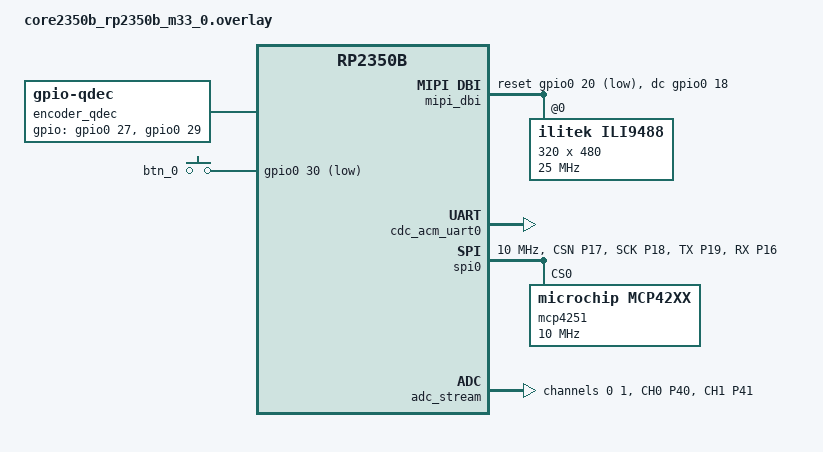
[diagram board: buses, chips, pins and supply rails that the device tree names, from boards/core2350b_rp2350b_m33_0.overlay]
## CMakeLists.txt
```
cmake_minimum_required(VERSION 3.20.0)

find_package(Zephyr REQUIRED)
project(tp_analyzer)

target_sources(app PRIVATE
  src/main.c
)

add_subdirectory(src)
target_link_libraries(app PRIVATE app_lib)

# So main.c can `#include "adc_stream.h"` for the app-local driver's public
# API (adc_stream_start()/adc_stream_stop()) without reaching into
# drivers/adc_stream/ with a relative path.
target_include_directories(app PRIVATE drivers/adc_stream)
add_subdirectory_ifdef(CONFIG_ADC_STREAM_RPI_PICO drivers/adc_stream)
target_include_directories_ifdef(CONFIG_ADC_STREAM_RPI_PICO app_lib PRIVATE drivers/adc_stream)
target_link_libraries_ifdef(CONFIG_ADC_STREAM_RPI_PICO app_lib PRIVATE adc_stream)
# Link POWMAN RTC driver to application
add_subdirectory_ifdef(CONFIG_POWMAN_RTC_RPI_PICO drivers/powman_rtc)
target_include_directories_ifdef(CONFIG_POWMAN_RTC_RPI_PICO app_lib PRIVATE drivers/powman_rtc)
target_link_libraries_ifdef(CONFIG_POWMAN_RTC_RPI_PICO app_lib PRIVATE powman_rtc)
# Link MCP4XXX digital potentiometer driver to application. Also exposed to
# the `app` target (not just app_lib) so main.c can `#include "mcp4xxx.h"`
# directly, the same way drivers/adc_stream is above.
add_subdirectory_ifdef(CONFIG_MCP4XXX drivers/mcp4xxx)
target_include_directories_ifdef(CONFIG_MCP4XXX app PRIVATE drivers/mcp4xxx)
target_include_directories_ifdef(CONFIG_MCP4XXX app_lib PRIVATE drivers/mcp4xxx)
target_link_libraries_ifdef(CONFIG_MCP4XXX app_lib PRIVATE mcp4xxx)

# CMSIS-DSP FFT wrapper (RTOS-agnostic, ported unchanged from the FreeRTOS
# tree — see ZEPHYR_MIGRATION.md's Guiding principle)
add_subdirectory_ifdef(CONFIG_CMSIS_DSP services/dsp)
target_include_directories_ifdef(CONFIG_CMSIS_DSP app_lib PRIVATE services/dsp)
target_link_libraries_ifdef(CONFIG_CMSIS_DSP app_lib PRIVATE dsp)
```

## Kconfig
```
# Copyright (c) 2026 Fabrizio Carlassara
# SPDX-License-Identifier: Apache-2.0

# Pulled forward from Phase 5 (see ZEPHYR_MIGRATION.md) just far enough to
# host the Phase 1b driver's Kconfig fragment below. The full app-level
# menu ported from main:firmware/Kconfig still happens in Phase 5 — this
# file grows then, it isn't reworked from scratch.

menu "Application"
  menu "Threads Customization"
    rsource "src/threads/Kconfig"
  endmenu
  menu "UI Screens"
    rsource "src/lvgl/Kconfig"
  endmenu
  menu "DSP"
    config ADC_SAMPLES
      int "Number of ADC samples taken"
      default ADC_STREAM_PER_CHANNEL_BUFFER_SIZE
      depends on ADC_STREAM_RPI_PICO
      help
        This sets the number of samples taken on each ADC channel

    config ADC_SAMPLING_FREQUENCY_HZ
      int "Sampling frequency per channel in Hz"
      default ADC_STREAM_PER_CHANNEL_SAMPLE_RATE_HZ
      depends on ADC_STREAM_RPI_PICO
      help
        This sets the sampling frequency per ADC channel

    config FFT_BINS
      int "Number of FFT bins"
      default 512
      help
        Has to be half of ADC_SAMPLES
  endmenu
endmenu

menu "ADC Driver"
  rsource "drivers/adc_stream/Kconfig"
endmenu

menu "RTC Driver"
  rsource "drivers/powman_rtc/Kconfig"
endmenu

menu "MCP4XXX Driver"
  rsource "drivers/mcp4xxx/Kconfig"
endmenu

source "Kconfig.zephyr"
```

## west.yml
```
manifest:
  version: 1.0

  projects:
    - name: zephyr
      url: https://github.com/zephyrproject-rtos/zephyr
      revision: main
      import:
        name-allowlist:
          - cmsis_6
          - cmsis-dsp
          - hal_rpi_pico
          - lvgl
```

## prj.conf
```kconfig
CONFIG_LOG=y
CONFIG_STDOUT_CONSOLE=y
CONFIG_CONSOLE=y
CONFIG_UART_CONSOLE=y
CONFIG_UART_LINE_CTRL=y

# New USB device stack. Legacy usb_enable()/CONFIG_USB_DEVICE_STACK is
# deprecated and slated for removal in Zephyr v4.5.0 (we're pinned to
# v4.4.2, see app/west.yml) — moving now avoids touching this twice.
CONFIG_USB_DEVICE_STACK_NEXT=y
CONFIG_USBD_CDC_ACM_LOG_LEVEL_OFF=y

# In-tree helper (subsys/usb/device_next/app/cdc_acm_serial.c) that wires
# up descriptors + a single CDC ACM instance + usbd_init()/usbd_enable()
# automatically, driven by the cdc_acm_uart0 devicetree node in
# boards/rpi_pico2_rp2350a_m33.overlay. No USBD boilerplate needed in main.c.
CONFIG_CDC_ACM_SERIAL_INITIALIZE_AT_BOOT=y
CONFIG_CDC_ACM_SERIAL_ENABLE_AT_BOOT=y
CONFIG_CDC_ACM_SERIAL_PRODUCT_STRING="TP Analyzer"

# LVGL and display
CONFIG_DISPLAY=y
CONFIG_MIPI_DBI=y
CONFIG_ILI9488=y
CONFIG_LVGL=y
CONFIG_LV_Z_AUTO_INIT=y
CONFIG_LV_Z_MEM_POOL_SIZE=80000
CONFIG_LV_COLOR_DEPTH_16=y
CONFIG_LV_COLOR_16_SWAP=y

# POWMAN RTC
CONFIG_RTC=y
CONFIG_POWMAN_RTC_RPI_PICO=y
CONFIG_STACK_SENTINEL=y

# Encoder input
CONFIG_INPUT=y
CONFIG_LV_Z_ENCODER_INPUT=y

# CMSIS-DSP (FFT for scr_oscilloscope/scr_fft, see app/services/dsp/).
# TRANSFORM (RFFT) and STATISTICS (max/absmax) already imply BASICMATH +
# FASTMATH (arm_mult_f32, arm_sqrt_f32) — WINDOW (arm_hanning_f32) stands
# alone, no implies for it.
CONFIG_CMSIS_DSP=y

# Digital potentiometer
CONFIG_MCP4XXX=y
```

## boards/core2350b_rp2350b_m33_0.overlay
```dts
#include <zephyr/dt-bindings/mipi_dbi/mipi_dbi.h>
#include <zephyr/dt-bindings/display/panel.h>
#include <zephyr/dt-bindings/dma/rpi-pico-dma-rp2350.h>
#include <zephyr/dt-bindings/pinctrl/rpi-pico-rp2350b-pinctrl.h>
#include <zephyr/dt-bindings/input/input-event-codes.h>

/ {
	chosen {
		zephyr,console = &cdc_acm_uart0;
		zephyr,shell-uart = &cdc_acm_uart0;
		zephyr,display = &ili9488;
	};

	mipi_dbi: mipi_dbi {
		compatible = "zephyr,mipi-dbi-bitbang";
		dc-gpios = <&gpio0 18 GPIO_ACTIVE_HIGH>;
		reset-gpios = <&gpio0 20 GPIO_ACTIVE_LOW>;
		rd-gpios = <&gpio0 16 GPIO_ACTIVE_HIGH>;
		wr-gpios = <&gpio0 17 GPIO_ACTIVE_HIGH>;
		cs-gpios = <&gpio0 19 GPIO_ACTIVE_LOW>;
		data-gpios = <&gpio0 0 GPIO_ACTIVE_HIGH>,
			     <&gpio0 1 GPIO_ACTIVE_HIGH>,
			     <&gpio0 2 GPIO_ACTIVE_HIGH>,
			     <&gpio0 3 GPIO_ACTIVE_HIGH>,
			     <&gpio0 4 GPIO_ACTIVE_HIGH>,
			     <&gpio0 5 GPIO_ACTIVE_HIGH>,
			     <&gpio0 6 GPIO_ACTIVE_HIGH>,
			     <&gpio0 7 GPIO_ACTIVE_HIGH>;
		#address-cells = <1>;
		#size-cells = <0>;

		ili9488: ili9488@0 {
			compatible = "ilitek,ili9488";
			mipi-max-frequency = <25000000>;
			reg = <0>;
			pixel-format = <PANEL_PIXEL_FORMAT_RGB_565>;
			rotation = <90>;
			width = <320>;
			height = <480>;
			mipi-mode = "MIPI_DBI_MODE_8080_BUS_8_BIT";
			h-mirror;
		};
	};

	encoder_qdec: encoder-qdec {
		compatible = "gpio-qdec";
		gpios = <&gpio0 27 (GPIO_PULL_UP | GPIO_ACTIVE_HIGH)>,
			<&gpio0 29 (GPIO_PULL_UP | GPIO_ACTIVE_HIGH)>;
		steps-per-period = <2>;
		zephyr,axis = <INPUT_REL_WHEEL>;
		sample-time-us = <1000>;
		idle-timeout-ms = <200>;
	};

	encoder_btn: encoder-btn {
		compatible = "gpio-keys";
		btn_0 {
			gpios = <&gpio0 30 (GPIO_PULL_UP | GPIO_ACTIVE_LOW)>;
			zephyr,code = <INPUT_KEY_ENTER>;
		};
	};

	lvgl_encoder: lvgl-encoder-input {
		compatible = "zephyr,lvgl-encoder-input";
		rotation-input-code = <INPUT_REL_WHEEL>;
		button-input-code = <INPUT_KEY_ENTER>;
	};
};

&zephyr_udc0 {
	cdc_acm_uart0: cdc_acm_uart0 {
		compatible = "zephyr,cdc-acm-uart";
		label = "CDC_ACM_0";
	};
};

&pinctrl {
	/* TODO: unverified — RP2_PINCTRL_GPIO_FUNC_NULL disconnects the
	 * digital function per the pinctrl header's own comment, matching
	 * the Pico SDK's adc_gpio_init(), but whether pulls/input-buffer
	 * also need explicitly disabling here (input-enable omitted =
	 * disabled, need to confirm that's actually sufficient on RP2350)
	 * hasn't been checked against real hardware yet.
	 */
	adc_ch0_default: adc_ch0_default {
		group1 {
			pinmux = <ADC_CH0_P40>;
		};
	};
	adc_ch1_default: adc_ch1_default {
		group1 {
			pinmux = <ADC_CH1_P41>;
		};
	};

	spi0_default: spi0_default {
		group1 {
			pinmux = <SPI0_CSN_P17>, <SPI0_SCK_P18>, <SPI0_TX_P19>;
		};

		group2 {
			pinmux = <SPI0_RX_P16>;
			input-enable;
		};
	};
};

&dma {
	status = "okay";
};

/** Disable the built-in ADC peripheral and driver */
&adc {
	status = "disabled";
};

&spi0 {
	clock-frequency = <DT_FREQ_M(10)>;
	pinctrl-0 = <&spi0_default>;
	pinctrl-names = "default";
	status = "okay";

	mcp4251: mcp4251@0 {
		compatible = "microchip,mcp42xx";
		reg = <0>;
		spi-max-frequency = <DT_FREQ_M(10)>;
		ohms = <10000>;
		resolution = <8>;
	};
};

&{/soc} {
	adc_stream: adc-stream@400a0000 {
		compatible = "raspberrypi,pico-adc-stream";
		reg = <0x400a0000 DT_SIZE_K(4)>;
		resets = <&reset RPI_PICO_RESETS_RESET_ADC>;
		clocks = <&clocks RPI_PICO_CLKID_CLK_ADC>;
		pinctrl-0 = <&adc_ch0_default &adc_ch1_default>;
		pinctrl-names = "default";
		dmas = <&dma 0 RPI_PICO_DMA_SLOT_ADC 0>;
		dma-names = "rx";
		status = "okay";

		#address-cells = <1>;
		#size-cells = <0>;

		voltage_a: channel@0 {
			reg = <0>;
		};
		current_a: channel@1 {
			reg = <1>;
		};
	};

	powman_rtc: powman-rtc@40100000 {
		compatible = "raspberrypi,pico-powman-rtc";
		reg = <0x40100000 DT_SIZE_K(32)>;
	};
};
```

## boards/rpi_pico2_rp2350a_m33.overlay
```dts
#include <zephyr/dt-bindings/mipi_dbi/mipi_dbi.h>
#include <zephyr/dt-bindings/display/panel.h>
#include <zephyr/dt-bindings/dma/rpi-pico-dma-rp2350.h>
#include <zephyr/dt-bindings/pinctrl/rpi-pico-rp2350a-pinctrl.h>
#include <zephyr/dt-bindings/input/input-event-codes.h>

/ {
	chosen {
		zephyr,console = &cdc_acm_uart0;
		zephyr,shell-uart = &cdc_acm_uart0;
		zephyr,display = &ili9488;
	};

	mipi_dbi: mipi_dbi {
		compatible = "zephyr,mipi-dbi-bitbang";
		dc-gpios = <&gpio0 18 GPIO_ACTIVE_HIGH>;
		reset-gpios = <&gpio0 20 GPIO_ACTIVE_LOW>;
		rd-gpios = <&gpio0 16 GPIO_ACTIVE_HIGH>;
		wr-gpios = <&gpio0 17 GPIO_ACTIVE_HIGH>;
		cs-gpios = <&gpio0 19 GPIO_ACTIVE_LOW>;
		data-gpios = <&gpio0 0 GPIO_ACTIVE_HIGH>,
			     <&gpio0 1 GPIO_ACTIVE_HIGH>,
			     <&gpio0 2 GPIO_ACTIVE_HIGH>,
			     <&gpio0 3 GPIO_ACTIVE_HIGH>,
			     <&gpio0 4 GPIO_ACTIVE_HIGH>,
			     <&gpio0 5 GPIO_ACTIVE_HIGH>,
			     <&gpio0 6 GPIO_ACTIVE_HIGH>,
			     <&gpio0 7 GPIO_ACTIVE_HIGH>;
		#address-cells = <1>;
		#size-cells = <0>;

		ili9488: ili9488@0 {
			compatible = "ilitek,ili9488";
			mipi-max-frequency = <25000000>;
			reg = <0>;
			pixel-format = <PANEL_PIXEL_FORMAT_RGB_565>;
			rotation = <90>;
			width = <320>;
			height = <480>;
			mipi-mode = "MIPI_DBI_MODE_8080_BUS_8_BIT";
			h-mirror;
		};
	};

	encoder_qdec: encoder-qdec {
		compatible = "gpio-qdec";
		gpios = <&gpio0 13 (GPIO_PULL_UP | GPIO_ACTIVE_HIGH)>,
			<&gpio0 14 (GPIO_PULL_UP | GPIO_ACTIVE_HIGH)>;
		steps-per-period = <2>;
		zephyr,axis = <INPUT_REL_WHEEL>;
		sample-time-us = <1000>;
		idle-timeout-ms = <200>;
	};

	encoder_btn: encoder-btn {
		compatible = "gpio-keys";
		btn_0 {
			gpios = <&gpio0 15 (GPIO_PULL_UP | GPIO_ACTIVE_LOW)>;
			zephyr,code = <INPUT_KEY_ENTER>;
		};
	};

	lvgl_encoder: lvgl-encoder-input {
		compatible = "zephyr,lvgl-encoder-input";
		rotation-input-code = <INPUT_REL_WHEEL>;
		button-input-code = <INPUT_KEY_ENTER>;
	};
};

&zephyr_udc0 {
	cdc_acm_uart0: cdc_acm_uart0 {
		compatible = "zephyr,cdc-acm-uart";
		label = "CDC_ACM_0";
	};
};

&pinctrl {
	/* TODO: unverified — RP2_PINCTRL_GPIO_FUNC_NULL disconnects the
	 * digital function per the pinctrl header's own comment, matching
	 * the Pico SDK's adc_gpio_init(), but whether pulls/input-buffer
	 * also need explicitly disabling here (input-enable omitted =
	 * disabled, need to confirm that's actually sufficient on RP2350)
	 * hasn't been checked against real hardware yet.
	 */
	adc_ch0_default: adc_ch0_default {
		group1 {
			pinmux = <ADC_CH0_P26>;
		};
	};
	adc_ch1_default: adc_ch1_default {
		group1 {
			pinmux = <ADC_CH1_P27>;
		};
	};

	spi0_default: spi0_default {
		group1 {
			pinmux = <SPI0_CSN_P17>, <SPI0_SCK_P18>, <SPI0_TX_P19>;
		};

		group2 {
			pinmux = <SPI0_RX_P16>;
			input-enable;
		};
	};
};

&dma {
	status = "okay";
};

/** Disable the built-in ADC peripheral and driver */
&adc {
	status = "disabled";
};

&spi0 {
	clock-frequency = <DT_FREQ_M(10)>;
	pinctrl-0 = <&spi0_default>;
	pinctrl-names = "default";
	status = "okay";

	mcp4251: mcp4251@0 {
		compatible = "microchip,mcp42xx";
		reg = <0>;
		spi-max-frequency = <DT_FREQ_M(10)>;
		ohms = <10000>;
		resolution = <8>;
	};
};

&{/soc} {
	/* NOT named "adc@400a0000" — that's the existing (disabled) stock
	 * node's exact name+unit-address, and an overlay node matching both
	 * merges into it instead of creating a sibling, silently overwriting
	 * its `compatible` out from under anything still referencing it (see
	 * rp2350a.dtsi's `&die_temp { io-channels = <&adc 4>; };`, which
	 * needs the *original* raspberrypi,pico-adc binding intact even
	 * though die_temp itself defaults to disabled — edtlib validates the
	 * io-channels cell count regardless of status). Different node name,
	 * same reg — dtc's unique_unit_address check is the "if_enabled"
	 * variant here, so two same-address siblings are fine as long as at
	 * most one is ever status = "okay" at a time, which this is.
	 */
	adc_stream: adc-stream@400a0000 {
		compatible = "raspberrypi,pico-adc-stream";
		reg = <0x400a0000 DT_SIZE_K(4)>;
		resets = <&reset RPI_PICO_RESETS_RESET_ADC>;
		clocks = <&clocks RPI_PICO_CLKID_CLK_ADC>;
		pinctrl-0 = <&adc_ch0_default &adc_ch1_default>;
		pinctrl-names = "default";
		dmas = <&dma 0 RPI_PICO_DMA_SLOT_ADC 0>;
		dma-names = "rx";
		status = "okay";

		#address-cells = <1>;
		#size-cells = <0>;

		voltage_a: channel@0 {
			reg = <0>;
		};
		current_a: channel@1 {
			reg = <1>;
		};
	};

	powman_rtc: powman-rtc@40100000 {
		compatible = "raspberrypi,pico-powman-rtc";
		reg = <0x40100000 DT_SIZE_K(32)>;
	};
};
```

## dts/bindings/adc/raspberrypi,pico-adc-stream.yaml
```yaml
# Copyright (c) 2026 Fabrizio Carlassara
# SPDX-License-Identifier: Apache-2.0

description: |
  Raspberry Pi Pico/Pico 2 ADC, free-running into a DMA channel.

  Deliberately a separate compatible from the in-tree "raspberrypi,pico-adc"
  binding: that driver (drivers/adc/adc_rpi_pico.c upstream) only supports
  one-shot/round-robin reads — one IRQ per sample, no DMA — which can't
  sustain continuous 10 kHz acquisition. This binding claims the same ADC
  peripheral instance instead, so whichever board overlay enables this node
  must leave the stock "adc" node at status = "disabled" (it already
  defaults to disabled in rp2350.dtsi). See ZEPHYR_MIGRATION.md Phase 1b
  and app/drivers/adc_stream/.

compatible: "raspberrypi,pico-adc-stream"

include: [base.yaml, pinctrl-device.yaml, reset-device.yaml]

properties:
  "#address-cells":
    const: 1

  "#size-cells":
    const: 0

  reg:
    required: true

  clocks:
    required: true

  vref-mv:
    type: int
    default: 3300
    description: ADC reference voltage in mV (tied to VDD on the Pico 2).

  dmas:
    required: true
    description: |
      Single DMA channel used for ADC FIFO -> memory transfers, e.g.:
        dmas = <&dma 0 RPI_PICO_DMA_SLOT_ADC 0>;
      RPI_PICO_DMA_SLOT_ADC comes from
      <zephyr/dt-bindings/dma/rpi-pico-dma-rp2350.h>.

  dma-names:
    required: true
    description: Must be "rx".

child-binding:
  description: One ADC input channel.
  properties:
    reg:
      type: array
      required: true
      description: ADC channel index (0-3 = GPIO26-29, 4 = internal temp; RP2350B adds more).
```

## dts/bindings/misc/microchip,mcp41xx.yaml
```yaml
# Copyright (c) 2026 Fabrizio Carlassara
# SPDX-License-Identifier: Apache-2.0

description: |
  Microchip MCP41XX single-channel digital potentiometer/rheostat
  family (volatile/RAM wiper): MCP4131 (7-bit) and MCP4151 (8-bit),
  selected via the `resolution` property below.

  SPI-controlled, 7-bit (129-tap) or 8-bit (257-tap) wiper, 5k/10k/50k/
  100k ohm variants. Unlike microchip,mcp41xxx (Microchip DS11195 -- a
  different, older, simpler chip despite the near-identical naming),
  this family supports Increment/Decrement wiper commands, a Read Data
  command (the wiper position can be read back), and a Terminal Control
  (TCON) register for independently connecting/disconnecting each of
  the A/W/B terminals.

  Only the volatile (RAM) wiper variant is currently supported by the
  driver -- the non-volatile (EEPROM) MCP4141/MCP4161 need write-timing/
  endurance handling not yet implemented. See docs/ROADMAP.md.

  No SHDN or WP pin on this family's 8-pin package (see
  microchip,mcp42xx for the dual-channel family that has SHDN).

  Datasheet: Microchip DS22060B ("MCP413X/415X/423X/425X 7/8-Bit
  Single/Dual SPI Digital POT with Volatile Memory").

compatible: "microchip,mcp41xx"

include: [spi-device.yaml]

properties:
  ohms:
    type: int
    required: true
    enum:
      - 5000
      - 10000
      - 50000
      - 100000
    description: Nominal end-to-end (terminal A to terminal B) resistance.

  resolution:
    type: int
    required: true
    enum:
      - 7
      - 8
    description: |
      Wiper resolution in bits: 7 for MCP4131 (129 steps, full scale
      code = 0x80), 8 for MCP4151 (257 steps, full scale code = 0x100).
```

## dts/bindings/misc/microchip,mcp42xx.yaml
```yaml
# Copyright (c) 2026 Fabrizio Carlassara
# SPDX-License-Identifier: Apache-2.0

description: |
  Microchip MCP42XX dual-channel digital potentiometer/rheostat family
  (volatile/RAM wiper): MCP4231 (7-bit) and MCP4251 (8-bit), selected
  via the `resolution` property below.

  SPI-controlled, 7-bit (129-tap) or 8-bit (257-tap) wiper per channel,
  5k/10k/50k/100k ohm variants. See microchip,mcp41xx's description for
  how this family differs from microchip,mcp41xxx (Microchip DS11195, a
  different, older, simpler chip despite the near-identical naming).

  Only the volatile (RAM) wiper variant is currently supported by the
  driver -- the non-volatile (EEPROM) MCP4241/MCP4261 need write-timing/
  endurance handling not yet implemented. See docs/ROADMAP.md.

  Unlike microchip,mcp41xx, the 14/16-pin dual-channel package this
  family comes in exposes an optional SHDN pin (active-low): it forces
  each channel's terminals into the pattern set by that channel's TCON
  register R0HW/R1HW override bit (default at power-up: forced, i.e.
  the channel is not exempted from hardware shutdown).

  Datasheet: Microchip DS22060B ("MCP413X/415X/423X/425X 7/8-Bit
  Single/Dual SPI Digital POT with Volatile Memory").

compatible: "microchip,mcp42xx"

include: [spi-device.yaml]

properties:
  ohms:
    type: int
    required: true
    enum:
      - 5000
      - 10000
      - 50000
      - 100000
    description: Nominal end-to-end (terminal A to terminal B) resistance
      of each channel.

  resolution:
    type: int
    required: true
    enum:
      - 7
      - 8
    description: |
      Wiper resolution in bits: 7 for MCP4231 (129 steps, full scale
      code = 0x80), 8 for MCP4251 (257 steps, full scale code = 0x100).

  shutdown-gpios:
    type: phandle-array
    description: |
      Optional SHDN pin. Encode GPIO_ACTIVE_LOW -- the pin is
      active-low on the device.
```

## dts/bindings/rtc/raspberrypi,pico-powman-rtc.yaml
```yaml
# Copyright (c) 2026 Fabrizio Carlassara
# SPDX-License-Identifier: Apache-2.0

description: |
  Raspberry Pi Pico/Pico 2 POWMAN RTC.

compatible: "raspberrypi,pico-powman-rtc"

include: [base.yaml, rtc-device.yaml]

properties:
  reg:
    required: true
```

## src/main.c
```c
#include <stdio.h>
#include <zephyr/kernel.h>
#include <zephyr/device.h>
#include <zephyr/drivers/display.h>
#include <zephyr/logging/log.h>

#include "app.h"
#include "adc_stream.h"

LOG_MODULE_REGISTER(main, LOG_LEVEL_INF);

// #define DISPLAY_WIDTH  DT_PROP(DT_CHOSEN(zephyr_display), width)
// #define DISPLAY_HEIGHT DT_PROP(DT_CHOSEN(zephyr_display), height)

/* Rows written per display_write() call — keeps the static buffer small
 * while still writing in reasonably-sized chunks (LVGL's eventual partial
 * render buffer will look similar in spirit).
 */
// #define CHUNK_LINES 20

// static const struct device *display_dev = DEVICE_DT_GET(DT_CHOSEN(zephyr_display));
// static const struct device *adc = DEVICE_DT_GET(DT_NODELABEL(adc_stream));


int main(void)
{
	// if (!device_is_ready(display_dev)) {
	// 	LOG_ERR("Display device not ready");
	// 	return 0;
	// }

	// struct display_capabilities caps;

	// display_get_capabilities(display_dev, &caps);
	// LOG_INF("Display %ux%u, pixel format %u", caps.x_resolution, caps.y_resolution,
	// 	caps.current_pixel_format);

	/* Panel starts blanked (ili9xxx_init() leaves blanking on) — this is
	 * the point LVGL's flush would normally call it too, once per frame.
	 */
	// display_blanking_off(display_dev);

	// LOG_INF("Static pattern test done");

	if (!app_run()) {
		LOG_ERR("App failed to run");
		while(1) { k_msleep(1000); }
	}

	while (1) {
		k_msleep(1000);
	}

	return 0;
}
```

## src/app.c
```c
#include "app.h"
#include <zephyr/kernel.h>
#include <zephyr/logging/log.h>
#include <stdio.h>

#include "dev_state/dev_state.h"

extern void ui_thread(void *, void *, void *);
extern void ad_thread(void *, void *, void *);

// Thread definitions

K_THREAD_STACK_DEFINE(ad_thread_stack, CONFIG_AD_THREAD_STACK_SIZE);
struct k_thread ad_thread_data;
k_tid_t ad_tid;

K_THREAD_STACK_DEFINE(ui_thread_stack, CONFIG_UI_THREAD_STACK_SIZE);
struct k_thread ui_thread_data;
k_tid_t ui_tid;

LOG_MODULE_REGISTER(app, LOG_LEVEL_INF);

bool app_init(void)
{
    return true;
}

bool app_run(void)
{
    dev_state_init();

    ad_tid = k_thread_create(
        &ad_thread_data, ad_thread_stack,
        K_THREAD_STACK_SIZEOF(ad_thread_stack),
        ad_thread,
        NULL, NULL, NULL,
        CONFIG_AD_THREAD_PRIORITY, 0, K_NO_WAIT
    );

    ui_tid = k_thread_create(
        &ui_thread_data, ui_thread_stack,
        K_THREAD_STACK_SIZEOF(ui_thread_stack),
        ui_thread,
        NULL, NULL, NULL,
        CONFIG_UI_THREAD_PRIORITY, 0, K_NO_WAIT
    );

    return true;
}
```
